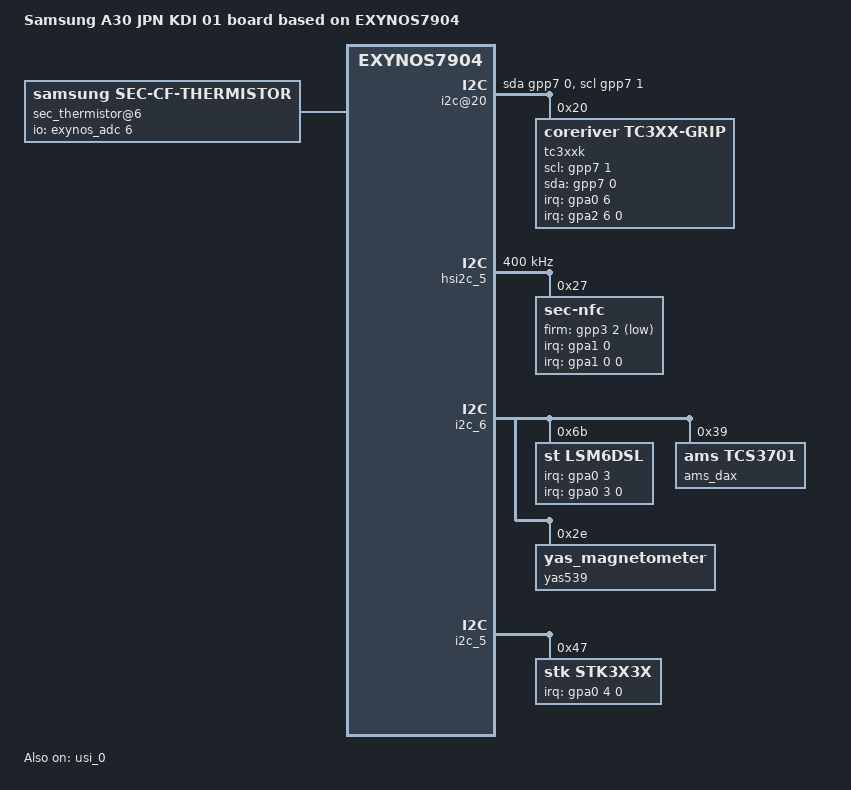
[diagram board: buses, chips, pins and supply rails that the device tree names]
/*
 * SAMSUNG EXYNOS7904 board device tree source

 *
 * Copyright (c) 2018 Samsung Electronics Co., Ltd.
 *		http://www.samsung.com
 *
 * This program is free software; you can redistribute it and/or modify
 * it under the terms of the GNU General Public License version 2 as
 * published by the Free Software Foundation.
*/

/dts-v1/;
/plugin/;

#include "exynos7904-a30jpn_common.dtsi"
#include "exynos7904-a30_jpn_kdi_gpio_01.dtsi"
#include "exynos7904-a30_fingerprint_00.dtsi"

/ {
	compatible = "samsung,A30 JPN KDI 01", "samsung,EXYNOS7904";

	dtbo-hw_rev = <1>;
        dtbo-hw_rev_end = <1>;


	fragment@model {
		target-path = "/";
		__overlay__ {
			#address-cells = <2>;
			#size-cells = <1>;

			model = "Samsung A30 JPN KDI 01 board based on EXYNOS7904";

			i2c@20 {
				compatible = "i2c-gpio";
				gpios = <&gpp7 0 0
						&gpp7 1 0>;
				i2c-gpio,delay-us = <5>;
				pinctrl-names = "default","on_i2c","off_i2c";
				pinctrl-0 = <&grip_i2c>;
				pinctrl-1 = <&grip_i2c>;
				pinctrl-2 = <&grip_gpio>;
				#address-cells = <1>;
				#size-cells = <0>;
				status = "okay";
				tc3xxk@20 {
					compatible = "coreriver,tc3xx-grip";
					pinctrl-names = "default","on_irq","off_irq";
					pinctrl-0 = <&grip_int &grip_ldo>;
					reg = <0x20>;
					interrupts = <6 0 0>;
					interrupt-parent = <&gpa2>;
					coreriver,scl-gpio = <&gpp7 1 0>;
					coreriver,sda-gpio = <&gpp7 0 0>;
					coreriver,irq-gpio = <&gpa0 6 0>;
					coreriver,ldo_en = <&gpg1 3 0>;
					coreriver,i2c-gpio = "true";
					coreriver,boot-on-ldo = "true";
					coreriver,fw_name = "coreriver/tc305k_a30_jpn_grip.fw";
					coreriver,use_bitmap = <1>;
				};
			};

			speedy@11CE0000 {
				audio_codec_cod3035x: cod3035x@03 {
					mic-bias1-voltage = <3>;
					fake-jack-adc = <1951>;
					aux-cable-detect-adc = <1953>;
					water-threshold-min = <1955>;
					water-threshold-max = <3000>;
				};
			};
			sec_thermistor@6 {
				compatible = "samsung,sec-cf-thermistor";
				status = "okay";

				adc_array = <275 324 380 450 528 619 729 856 1003 1161
					1345 1545 1766 1980 2222 2457 2685 2901 3102 3279
					3426 3551 3659>;
				temp_array = <900 850 800 750 700 650 600 550 500 450
					400 350 300 250 200 150 100 50 0 (-50)
					(-100) (-150) (-200)>;

				io-channels = <&exynos_adc 6>;
				io-channel-names = "adc-cf-temp";
				io-channel-ranges;
			};
		}; /* end of __overlay__ */
	}; /* end of fragment */
}; /* end of root */

&pinctrl_0 {	/*11CB0000*/
	nfc_clk: nfc-clk {
		samsung,pins = "gpq0-0";
		samsung,pin-function = <2>;
		samsung,pin-pud = <0>;
	};

	nfc_clk_nc: nfc-clk-nc {
		samsung,pins = "gpq0-0";
		samsung,pin-function = <0>;
		samsung,pin-pud = <1>;
	};

	nfc_int: nfc-int {
		samsung,pins = "gpa1-0";
		samsung,pin-function = <0>;
		samsung,pin-pud = <1>;
	};
};

&pinctrl_3 {	/*139B0000*/
	nfc_pvdd_en: nfc_pvdd_en {
		samsung,pins = "gpp6-4";
		samsung,pin-function = <1>;
		samsung,pin-pud = <0>;
		samsung,pin-val = <0>;
		samsung,pin-con-pdn = <3>;
		samsung,pin-pud-pdn = <0>;
	};

	nfc_firm: nfc_firm {
		samsung,pins = "gpp3-2";
		samsung,pin-function = <1>;
		samsung,pin-pud = <0>;
		samsung,pin-val = <0>;
		samsung,pin-con-pdn = <3>;
		samsung,pin-pud-pdn = <0>;
	};

	nfc_pd: nfc_pd {
		samsung,pins = "gpp2-2";
		samsung,pin-function = <2>;
		samsung,pin-pud = <0>;
		samsung,pin-drv = <0>;
		samsung,pin-con-pdn = <3>;
		samsung,pin-pud-pdn = <0>;
	};

	nfc_clk_req: nfc_clk_req {
		samsung,pins = "gpp2-3";
		samsung,pin-function = <2>;
		samsung,pin-pud = <1>;
		samsung,pin-drv = <0>;
		samsung,pin-con-pdn = <3>;
		samsung,pin-pud-pdn = <0>;
	};

	nfc_det: nfc-det {
		samsung,pins = "gpg2-2";
		samsung,pin-function = <0>;
		samsung,pin-pud = <0>;
	};
};

&usi_0 {
	usi_mode = "hsi2c0_hsi2c1";
	status = "okay";
};

&hsi2c_5{
	status = "okay";
	clock-frequency = <400000>;
	sec-nfc@27{
		compatible = "sec-nfc";
		reg = <0x27>;

		interrupt-parent = <&gpa1>;
		interrupts = <0 0 0>;

		sec-nfc,nfc_pd = <&gpp2 2 0x2>;
		sec-nfc,firm-gpio = <&gpp3 2 1>;
		sec-nfc,irq-gpio = <&gpa1 0 0>;
		sec-nfc,nfc_clkreq = <&gpp2 3 0x2>;
		sec-nfc,pvdd_en = <&gpp6 4 1>;
		sec-nfc,check_nfc =<&gpg2 2 0x0>;
		clkctrl-reg = <0x11C8600C>;

		pinctrl-names = "default";
		pinctrl-0 = <&nfc_pd &nfc_firm &nfc_int &nfc_pvdd_en &nfc_det &nfc_clk_nc>;
	};
};

&i2c_6 {
 	        status = "okay";

 		#address-cells = <1>;
 		#size-cells = <0>;
 		samsung,i2c-sda-delay = <100>;
 		samsung,i2c-max-bus-freq = <400000>;
 		pinctrl-names = "default";
 		pinctrl-0 = <&i2c6_bus>;

 		lsm6dsl@6b {
 			compatible = "st,lsm6dsl";
 			reg = <0x6b>;
 			gpio-controller;
 			#gpio-cells = <2>;
 			pinctrl-names = "default";
 			pinctrl-0 = <&acc_int>;
 			interrupt-parent = <&gpa0>;
 			interrupts = <3 0 0>;
 			st,irq_gpio = <&gpa0 3 0>;
 			st,orientation = <0 1 1 1 0 1 1 1 2>;
 		};

		ams_dax@39 {
			compatible = "ams,tcs3701";
			reg = <0x39>;
			ams,light_position = <51 81 2 59 1 80>;
		};

		yas539@2e {
			compatible = "yas_magnetometer";
			reg = <0x2e>;
			yas,orientation = <3>;
			yas,softiron = <10593 56 23 56 9020 20 23 20 10386>;
			yas,softiron_sign = <2 0 2 0 2 0 2 0 2>;
		};

};

&i2c_5 {
  	        status = "okay";

 		#address-cells = <1>;
 		#size-cells = <0>;
 		samsung,i2c-sda-delay = <100>;
 		samsung,i2c-max-bus-freq = <400000>;
 		pinctrl-names = "default";
 		pinctrl-0 = <&i2c5_bus>;

 		stk@47 {
			compatible = "stk,stk3x3x";
			reg = <0x47>;
			pinctrl-names = "default";
			pinctrl-0 = <&prox_led_en &proxy_int>;
			interrupt-parent = <&gpa0>;
			interrupts = <4 0 0>;
			stk,gpio_int = <&gpa0 4 0>;
			stk,prox_thd_h = <0>;
			stk,prox_thd_l = <0>;

		};
};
